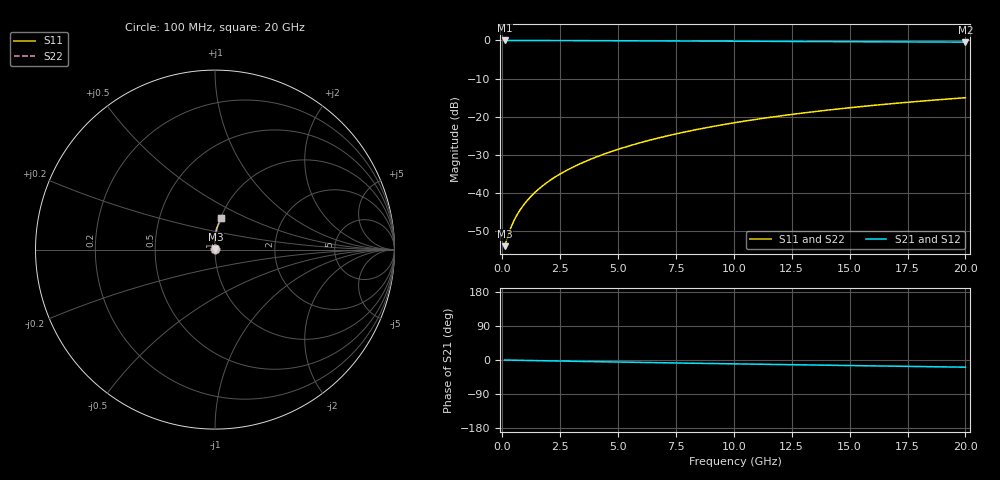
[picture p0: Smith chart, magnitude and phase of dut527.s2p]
! Touchstone file exported from HFSS 2024.1.0
!  File:  C:/UserFiles/LocalFiles/RDL_TSV_Batchsim/temp_RDL_top_527_1779680050.aedt
!  Generated:  11:36:26 AM May 25, 2026
!  Design:  RDL_top
!  Project:  temp_RDL_top_527_1779680050
!  Setup:  Setup1
!  Solution:  Sweep
! Variables:
!  dtsv = 10.80580581um
!  hbump = 3um
!  htsv = 66.06um
!  ldown = 100um
!  lrdl = 260.78um
!  p = 40
!  p1 = 45.08um
!  rhole = 1um
!  t = 450um
!  tdown = 3.915915916um
!  trdl = 2.44um
!  wdown = 15.38538539um
!  wrdl = 25.92um
# GHz S MA R 50.000000
! Terminal data exported
! Port[1] = Box2_T1
! Port[2] = Box2_T2
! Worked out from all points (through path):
!   200 points, 100 MHz to 20 GHz, reference 50 ohm
!   highest |S21| = -0.02 dB at 100 MHz (marker M1); lowest = -0.5 dB at 20 GHz (marker M2)
!   group delay of S21, straight-line fit = 2.6 ps
!   lowest |S11| = -54.0 dB at 100 MHz (marker M3), VSWR 1.00, Z = 50.2 + j0.0816 ohm
!   |S11| at or under -10 dB: start of sweep to end of sweep
!   |S22| runs from -54.0 to -15.0 dB; largest |S21 - S12| = 3.4e-15
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0.1  0.001996 24.0  0.9982 -0.1  0.9982 -0.1  0.001996 24.0
! Gamma 0 0 0 0
! Port Impedance 50 0 50 0
0.3  0.003058 50.0  0.998 -0.4  0.998 -0.4  0.003058 50.0
0.4  0.003672 56.3  0.9979 -0.5  0.9979 -0.5  0.003672 56.3
0.6  0.004912 64.3  0.9976 -0.7  0.9976 -0.7  0.004912 64.3
0.7  0.005536 67.1  0.9975 -0.8  0.9975 -0.8  0.005536 67.1
0.9  0.006799 71.4  0.9973 -1.0  0.9973 -1.0  0.006799 71.4
1.2  0.008738 75.9  0.997 -1.3  0.997 -1.3  0.008738 75.9
1.4  0.01006 78.2  0.9968 -1.6  0.9968 -1.6  0.01006 78.2
1.7  0.01208 80.8  0.9964 -1.9  0.9964 -1.9  0.01208 80.8
2.2  0.01556 83.8  0.9957 -2.4  0.9957 -2.4  0.01556 83.8
2.8  0.01988 86.3  0.9947 -3.1  0.9947 -3.1  0.01988 86.3
3.5  0.02515 88.3  0.9932 -3.8  0.9932 -3.8  0.02515 88.3
4.2  0.03065 89.5  0.9916 -4.6  0.9916 -4.6  0.03065 89.5
5  0.03723 90.4  0.9896 -5.4  0.9896 -5.4  0.03723 90.4
5.9  0.04495 90.8  0.9871 -6.3  0.9871 -6.3  0.04495 90.8
6.8  0.05296 90.9  0.9845 -7.2  0.9845 -7.2  0.05296 90.9
8.4  0.06773 90.2  0.9799 -8.7  0.9799 -8.7  0.06773 90.2
10.1  0.08385 88.9  0.975 -10.3  0.975 -10.3  0.08385 88.9
11.7  0.0992 87.4  0.9706 -11.7  0.9706 -11.7  0.0992 87.3
13.4  0.1155 85.6  0.966 -13.2  0.966 -13.2  0.1155 85.6
16.7  0.1468 82.0  0.9573 -16.1  0.9573 -16.1  0.1468 82.0
20  0.1771 78.4  0.9488 -18.9  0.9488 -18.9  0.1771 78.4
